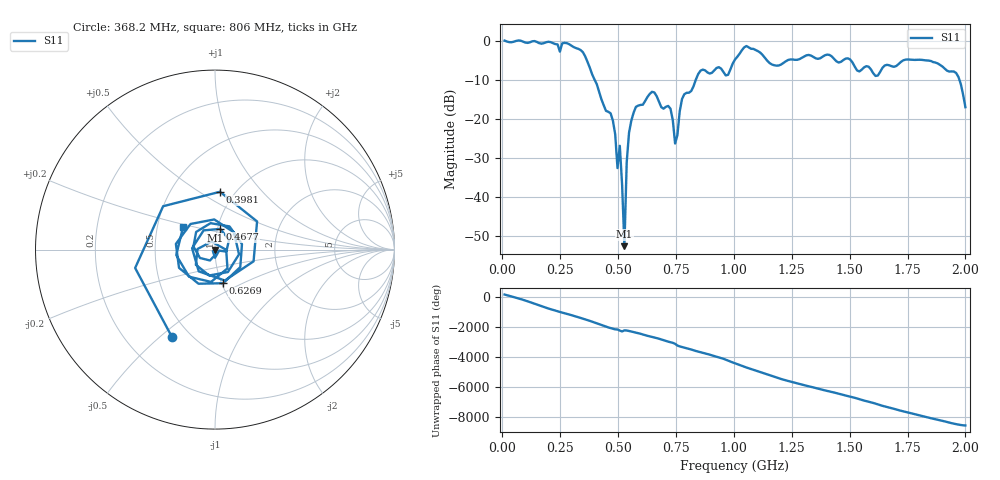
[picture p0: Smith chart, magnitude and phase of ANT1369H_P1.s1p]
!Created with skrf (http://scikit-rf.org).
# Hz S RI R 50.0
!freq ReS11 ImS11
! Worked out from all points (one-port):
!   201 points, 10 MHz to 2 GHz, reference 50 ohm
!   lowest |S11| = -52.6 dB at 527.4 MHz (marker M1), VSWR 1.00, Z = 50.1 - j0.225 ohm
!   |S11| at or under -10 dB: 399.7 MHz to 834.9 MHz (435.3 MHz wide, 70.5 % of centre); 1.975 GHz to end of sweep
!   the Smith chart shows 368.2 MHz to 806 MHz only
!   S11 on the Smith chart (normalised r, x): 368.2 MHz: 0.40, -0.55; 398.1 MHz: 0.85, +0.61; 467.7 MHz: 1.03, +0.24; 626.9 MHz: 1.02, -0.40; 806 MHz: 0.68, +0.18
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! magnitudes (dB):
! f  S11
! 10 MHz  0.2
! 258.8 MHz  -0.5
! 368.2 MHz  -5.3
! 398.1 MHz  -9.8
! 467.7 MHz  -18.5
! 487.6 MHz  -23.9
! 497.6 MHz  -32.6
! 507.5 MHz  -26.8
! 527.4 MHz  -52.6
! 537.4 MHz  -31.0
! 547.3 MHz  -23.5
! 577.1 MHz  -16.8
! 626.9 MHz  -14.3
! 726.4 MHz  -17.3
! 746.3 MHz  -26.3
! 756.2 MHz  -24.1
! 776.1 MHz  -14.8
! 806 MHz  -13.2
! 855.8 MHz  -7.6
! 975.1 MHz  -8.6
! 1.005 GHz  -4.7
! 1.055 GHz  -1.2
! 1.254 GHz  -4.7
! 1.502 GHz  -4.7
! 1.612 GHz  -8.9
! 1.751 GHz  -4.7
! 1.96 GHz  -8.1
! 2 GHz  -16.9
